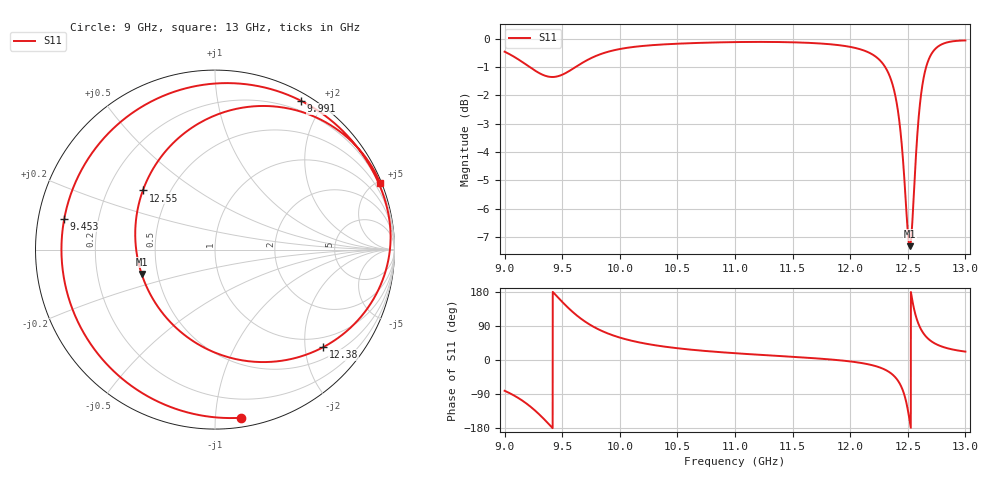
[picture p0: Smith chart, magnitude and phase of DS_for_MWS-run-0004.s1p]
! TOUCHSTONE file generated by CST DESIGN STUDIO
! Date and time: Tue Feb  4 16:06:15 2025
! Project name: C:\Work\MatlabApps\UnitCellOptimizationMatlab\CST\unitcell.cst
! Tree item: Tasks\Sweep1\SPara1\S-Parameters
! Header version: 2024
! Port assignment regex: !\s*Touchstone port\s*([0-9]+)\s*=\s*(CST MWS port|CST DES external port|CST DES block port)\s*(.+)\s* \(\"(.*)\"\)(\s*mode\s*([0-9]+))?.*
! Touchstone port assignment:
! Touchstone port 1 = CST DES external port 1 ("")
# GHz S MA R 50
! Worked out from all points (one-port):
!   4001 points, 9 GHz to 13 GHz, reference 50 ohm
!   lowest |S11| = -7.3 dB at 12.52 GHz (marker M1), VSWR 2.51, Z = 20.3 - j6.76 ohm
!   |S11| at or under -10 dB: nowhere
!   S11 on the Smith chart (normalised r, x): 9 GHz: 0.06, -1.16; 9.453 GHz: 0.08, +0.10; 9.991 GHz: 0.09, +1.73; 12.38 GHz: 0.75, -2.40; 12.55 GHz: 0.35, +0.32; 13 GHz: 0.11, +5.11
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9  0.9481 -81.2
9.128  0.9165 -102.0
9.232  0.8868 -125.0
9.354  0.8597 -159.7
9.453  0.8573 168.4
9.5  0.8635 153.4
9.597  0.8859 125.2
9.697  0.9116 101.7
9.84  0.9398 77.3
9.991  0.9576 60.0
10  0.9584 59.2
10.214  0.971 43.7
10.5  0.9793 31.0
11  0.9858 17.9
11.5  0.9849 8.4
12  0.9668 -3.8
12.252  0.918 -19.2
12.38  0.8122 -42.0
12.452  0.6349 -76.3
12.5  0.4561 -131.2
12.517  0.4308 -161.7
12.55  0.5198 140.6
12.58  0.665 105.9
12.611  0.7845 83.0
12.659  0.8906 61.6
12.713  0.9448 47.6
12.822  0.9819 32.9
13  0.9923 22.1
